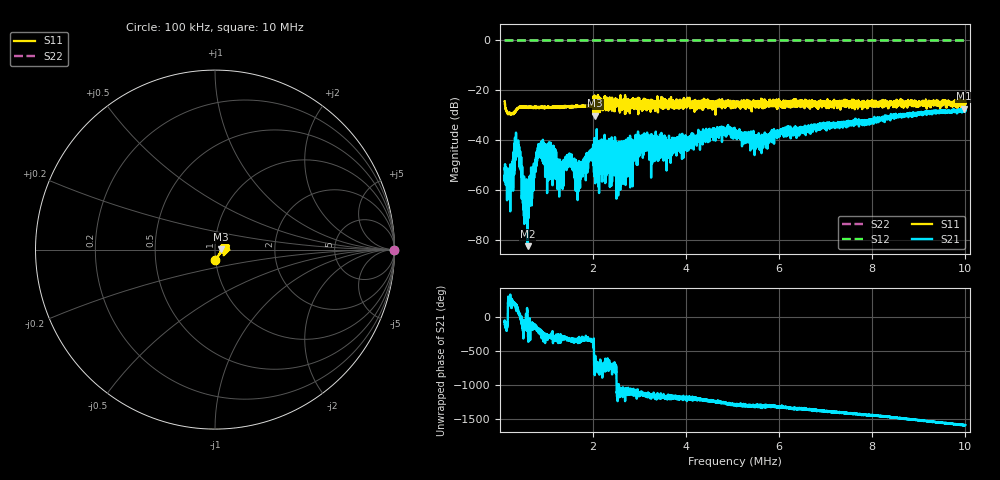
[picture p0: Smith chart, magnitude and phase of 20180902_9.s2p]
! Anritsu VNA Master:  Model: MS2026C/19
! SN:  1815009
! /card0/usr/20180902_9.s2p
! Existing Calibration Information:
! TYPE:  Current Settings,  Active Cal Settings
! TIME:  09/02/2018 12:40:15 PM,  09/02/2018 11:58:48 AM
! INTERNAL TEMP:  53.3 C,  48.8 C
! # POINTS:  4001,  4001
! START FREQ:  100.000 kHz,  100.000 kHz
! STOP FREQ:  10.000 MHz,  10.000 MHz
! SOURCE POWER:  Low,  Low
! IFBW:  500 Hz,  500 Hz
! AVG FACTOR:  1 ,  1
! REF PLANE 1:  0 mm,  0 mm
! REF PLANE 2:  0 mm,  0 mm
! CAL TYPE:  1P2P S11,S21,  1P2P S11,S21
! CAL METHOD:  SOLT,  SOLT
! CAL LINE TYPE:  Coax,  Coax
! DUT PORT 1:  N-Conn(M),  N-Conn(M)
! DUT PORT 2:  N-Conn(M),  N-Conn(M)
! CAL STATUS:  OK: Accuracy High,  --
# GHZ S RI R 50.0
! FREQ.GHZ  S11RE  S11IM  S21RE  S21IM  S12RE  S12IM  S22RE  S22IM
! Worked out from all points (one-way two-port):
!   4001 points, 100 kHz to 10 MHz, reference 50 ohm
!   highest |S21| = -27.27 dB at 9.965 MHz (marker M1); lowest = -82.3 dB at 592.5 kHz (marker M2)
!   lowest |S11| = -30.1 dB at 2.043 MHz (marker M3), VSWR 1.06, Z = 53.2 + j0.259 ohm
!   |S11| at or under -10 dB: start of sweep to end of sweep
!   |S22| runs from 0.0 to 0.0 dB; largest |S21 - S12| = 1
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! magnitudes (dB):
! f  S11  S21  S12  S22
! 100 kHz  -24.4  -54.2  0.0  0.0
! 236.1 kHz  -29.5  -52.1  0.0  0.0
! 372.2 kHz  -27.4  -42.5  0.0  0.0
! 414.3 kHz  -26.6  -42.7  0.0  0.0
! 500.9 kHz  -26.4  -56.5  0.0  0.0
! 592.5 kHz  -26.9  -82.3  0.0  0.0
! 872.2 kHz  -26.9  -44.8  0.0  0.0
! 1.139 MHz  -26.7  -55.3  0.0  0.0
! 1.305 MHz  -26.9  -55.9  0.0  0.0
! 1.486 MHz  -26.6  -45.6  0.0  0.0
! 1.751 MHz  -26.3  -50.1  0.0  0.0
! 2.043 MHz  -30.1  -39.4  0.0  0.0
! 2.444 MHz  -24.4  -43.0  0.0  0.0
! 2.553 MHz  -26.2  -57.8  0.0  0.0
! 3.129 MHz  -23.6  -40.3  0.0  0.0
! 3.402 MHz  -26.3  -42.3  0.0  0.0
! 5.05 MHz  -24.7  -38.7  0.0  0.0
! 5.617 MHz  -25.3  -39.5  0.0  0.0
! 6.701 MHz  -25.5  -34.6  0.0  0.0
! 8.352 MHz  -25.0  -31.0  0.0  0.0
! 9.965 MHz  -25.9  -27.3  0.0  0.0
! 10 MHz  -24.9  -28.0  0.0  0.0
